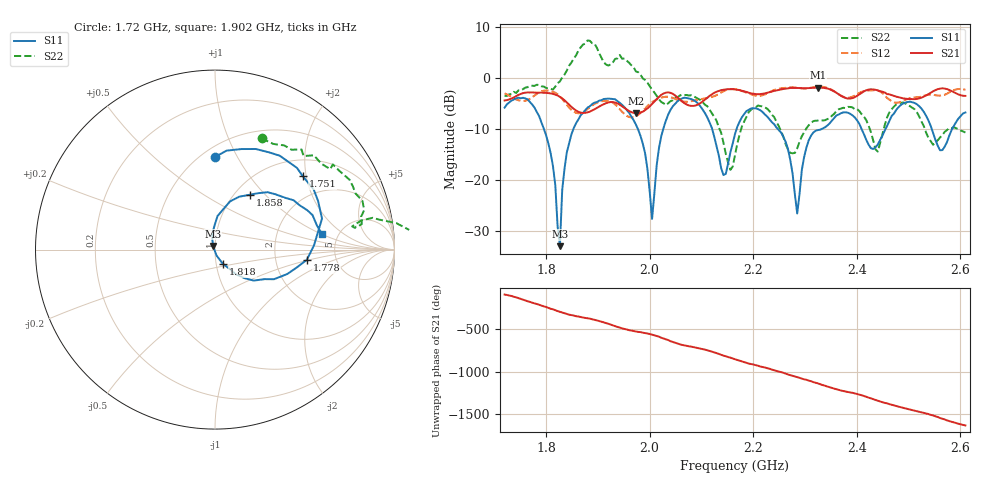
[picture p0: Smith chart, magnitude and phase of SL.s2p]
#  HZ  S  RI  R  50.0
! Rohde & Schwarz ZVL
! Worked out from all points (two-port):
!   201 points, 1.72 GHz to 2.61 GHz, reference 50 ohm
!   highest |S21| = -1.83 dB at 2.325 GHz (marker M1); lowest = -6.8 dB at 1.974 GHz (marker M2)
!   |S21| within 3 dB of the highest: start of sweep to 1.841 GHz; 2.099 GHz to end of sweep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
!   lowest |S11| = -32.9 dB at 1.827 GHz (marker M3), VSWR 1.05, Z = 48.9 + j1.91 ohm
!   |S11| at or under -10 dB: 1.796 GHz to 1.853 GHz (56.55 MHz wide, 3.1 % of centre); 1.978 GHz to 2.026 GHz (48.67 MHz wide, 2.43 % of centre); 2.248 GHz to 2.331 GHz (83.14 MHz wide, 3.63 % of centre)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
!   |S22| runs from -18.0 to 7.4 dB; largest |S21 - S12| = 0.16
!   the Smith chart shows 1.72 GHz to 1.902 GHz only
!   S11 on the Smith chart (normalised r, x): 1.72 GHz: 0.58, +0.81; 1.751 GHz: 1.39, +1.91; 1.778 GHz: 3.04, -0.47; 1.818 GHz: 1.08, -0.17; 1.858 GHz: 1.17, +0.82; 1.902 GHz: 3.75, +1.01
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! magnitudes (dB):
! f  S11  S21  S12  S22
! 1.72 GHz  -5.8  -4.4  -3.0  -3.5
! 1.751 GHz  -3.9  -3.1  -4.4  -2.4
! 1.778 GHz  -5.8  -2.8  -3.4  -1.5
! 1.818 GHz  -20.9  -3.2  -2.8  -1.6
! 1.827 GHz  -32.9  -3.6  -3.6  -0.6
! 1.836 GHz  -17.7  -4.3  -4.6  0.7
! 1.858 GHz  -8.8  -6.3  -6.8  4.5
! 1.871 GHz  -6.8  -6.8  -6.6  6.6
! 1.902 GHz  -4.4  -5.6  -4.6  5.0
! 1.974 GHz  -9.1  -6.8  -7.5  1.3
! 2.005 GHz  -27.6  -5.0  -4.7  -2.2
! 2.018 GHz  -13.7  -3.6  -3.9  -4.1
! 2.067 GHz  -3.8  -4.9  -4.6  -3.3
! 2.143 GHz  -19.0  -2.2  -2.5  -12.7
! 2.165 GHz  -10.9  -2.2  -2.1  -15.0
! 2.201 GHz  -5.9  -3.0  -3.3  -5.7
! 2.254 GHz  -10.6  -2.2  -2.0  -10.4
! 2.285 GHz  -26.5  -1.9  -1.8  -13.7
! 2.316 GHz  -10.6  -1.9  -1.8  -8.4
! 2.325 GHz  -10.2  -1.8  -1.6  -8.3
! 2.463 GHz  -8.4  -3.1  -4.2  -6.7
! 2.61 GHz  -6.7  -3.5  -2.2  -10.6
